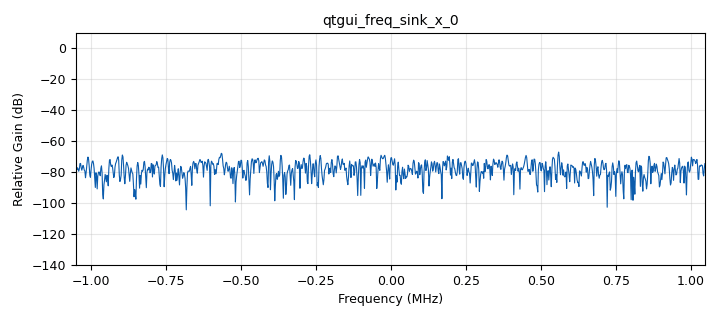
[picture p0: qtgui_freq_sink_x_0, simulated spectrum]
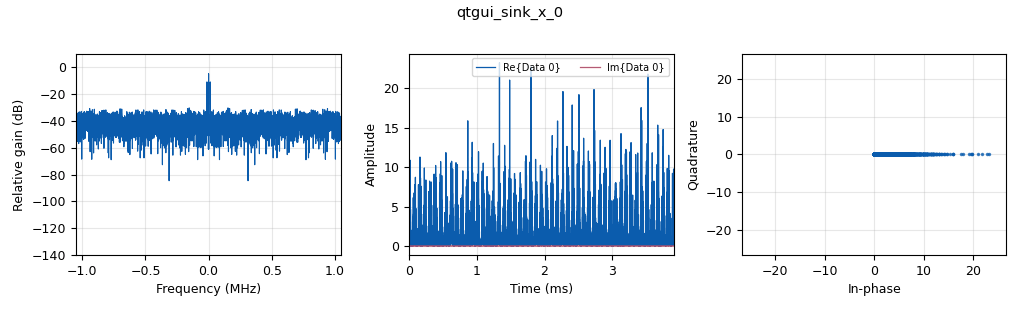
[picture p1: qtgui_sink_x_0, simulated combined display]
<?xml version='1.0' encoding='utf-8'?>
<?grc format='1' created='3.7.13'?>
<flow_graph>
<block>
<key>options</key>
<param><key>id</key><value>BW_Limited_Receiver_Simulation</value></param>
<param><key>author</key><value>Peter F Bradshaw</value></param>
<param><key>description</key><value>A white gausian dist simulator</value></param>
<param><key>generate_options</key><value>qt_gui</value></param>
<param><key>title</key><value>BW Limited Simulation</value></param>
</block>
<block>
<key>variable_qtgui_range</key>
<param><key>id</key><value>delay_var</value></param>
<param><key>value</key><value>50</value></param>
<param><key>orient</key><value>Qt.Horizontal</value></param>
<param><key>start</key><value>0</value></param>
<param><key>step</key><value>1</value></param>
<param><key>stop</key><value>8192</value></param>
<param><key>rangeType</key><value>int</value></param>
</block>
<block>
<key>variable</key>
<param><key>id</key><value>samp_rate</value></param>
<param><key>value</key><value>2097152</value></param>
</block>
<block>
<key>variable_qtgui_chooser</key>
<param><key>id</key><value>vector_length</value></param>
<param><key>value</key><value>8192</value></param>
<param><key>label0</key><value>8192</value></param>
<param><key>label1</key><value>32768</value></param>
<param><key>label2</key><value>131072</value></param>
<param><key>label3</key><value>524288</value></param>
<param><key>label4</key><value>2097152</value></param>
<param><key>label</key><value>Vector Length</value></param>
<param><key>labels</key><value>[1024, 2048, 4096, 8192, 16384, 32768, 65536, 131072, 262144, 524558, 1048576]</value></param>
<param><key>num_opts</key><value>5</value></param>
<param><key>option0</key><value>8192</value></param>
<param><key>option1</key><value>32768</value></param>
<param><key>option2</key><value>131072</value></param>
<param><key>option3</key><value>524288</value></param>
<param><key>option4</key><value>2097152</value></param>
<param><key>options</key><value>[1024, 2048, 4096, 8192, 16384, 32768, 65536, 131072, 262144, 524558, 1048576]</value></param>
<param><key>type</key><value>int</value></param>
<param><key>widget</key><value>radio_buttons</value></param>
</block>
<block>
<key>analog_fastnoise_source_x</key>
<param><key>id</key><value>analog_fastnoise_source_x_0</value></param>
<param><key>amp</key><value>0.01</value></param>
<param><key>noise_type</key><value>analog.GR_GAUSSIAN</value></param>
<param><key>type</key><value>complex</value></param>
<param><key>seed</key><value>0</value></param>
<param><key>samples</key><value>vector_length</value></param>
</block>
<block>
<key>blocks_add_xx</key>
<param><key>id</key><value>blocks_add_xx_0</value></param>
<param><key>type</key><value>complex</value></param>
</block>
<block>
<key>blocks_delay</key>
<param><key>id</key><value>blocks_delay_0</value></param>
<param><key>delay</key><value>delay_var</value></param>
<param><key>type</key><value>complex</value></param>
</block>
<block>
<key>blocks_multiply_conjugate_cc</key>
<param><key>id</key><value>blocks_multiply_conjugate_cc_0</value></param>
<param><key>vlen</key><value>vector_length</value></param>
</block>
<block>
<key>blocks_stream_to_vector</key>
<param><key>id</key><value>blocks_stream_to_vector_0</value></param>
<param><key>type</key><value>complex</value></param>
<param><key>num_items</key><value>vector_length</value></param>
</block>
<block>
<key>blocks_throttle</key>
<param><key>id</key><value>blocks_throttle_0</value></param>
<param><key>samples_per_second</key><value>samp_rate</value></param>
<param><key>type</key><value>complex</value></param>
</block>
<block>
<key>blocks_vector_to_stream</key>
<param><key>id</key><value>correlation_vector_to_stream</value></param>
<param><key>type</key><value>complex</value></param>
<param><key>num_items</key><value>vector_length</value></param>
</block>
<block>
<key>fft_vxx</key>
<param><key>id</key><value>fft</value></param>
<param><key>fft_size</key><value>vector_length</value></param>
<param><key>forward</key><value>False</value></param>
<param><key>type</key><value>complex</value></param>
<param><key>shift</key><value>False</value></param>
<param><key>window</key><value>window.rectangular(vector_length)</value></param>
</block>
<block>
<key>qtgui_freq_sink_x</key>
<param><key>id</key><value>qtgui_freq_sink_x_0</value></param>
<param><key>bw</key><value>samp_rate</value></param>
<param><key>fc</key><value>0</value></param>
<param><key>fftsize</key><value>1024</value></param>
<param><key>showports</key><value>True</value></param>
<param><key>type</key><value>complex</value></param>
<param><key>wintype</key><value>firdes.WIN_BLACKMAN_hARRIS</value></param>
</block>
<block>
<key>qtgui_sink_x</key>
<param><key>id</key><value>qtgui_sink_x_0</value></param>
<param><key>bw</key><value>samp_rate</value></param>
<param><key>fc</key><value>0</value></param>
<param><key>freqchangevar</key><value>None</value></param>
<param><key>fftsize</key><value>vector_length</value></param>
<param><key>showports</key><value>True</value></param>
<param><key>type</key><value>complex</value></param>
<param><key>wintype</key><value>firdes.WIN_BLACKMAN_hARRIS</value></param>
</block>
<connection><source_block_id>analog_fastnoise_source_x_0</source_block_id><sink_block_id>blocks_throttle_0</sink_block_id><source_key>0</source_key><sink_key>0</sink_key></connection>
<connection><source_block_id>blocks_add_xx_0</source_block_id><sink_block_id>blocks_stream_to_vector_0</sink_block_id><source_key>0</source_key><sink_key>0</sink_key></connection>
<connection><source_block_id>blocks_delay_0</source_block_id><sink_block_id>blocks_add_xx_0</sink_block_id><source_key>0</source_key><sink_key>1</sink_key></connection>
<connection><source_block_id>blocks_multiply_conjugate_cc_0</source_block_id><sink_block_id>correlation_vector_to_stream</sink_block_id><source_key>0</source_key><sink_key>0</sink_key></connection>
<connection><source_block_id>blocks_stream_to_vector_0</source_block_id><sink_block_id>fft</sink_block_id><source_key>0</source_key><sink_key>0</sink_key></connection>
<connection><source_block_id>blocks_throttle_0</source_block_id><sink_block_id>blocks_add_xx_0</sink_block_id><source_key>0</source_key><sink_key>0</sink_key></connection>
<connection><source_block_id>blocks_throttle_0</source_block_id><sink_block_id>blocks_delay_0</sink_block_id><source_key>0</source_key><sink_key>0</sink_key></connection>
<connection><source_block_id>blocks_throttle_0</source_block_id><sink_block_id>qtgui_freq_sink_x_0</sink_block_id><source_key>0</source_key><sink_key>0</sink_key></connection>
<connection><source_block_id>correlation_vector_to_stream</source_block_id><sink_block_id>qtgui_sink_x_0</sink_block_id><source_key>0</source_key><sink_key>0</sink_key></connection>
<connection><source_block_id>fft</source_block_id><sink_block_id>blocks_multiply_conjugate_cc_0</sink_block_id><source_key>0</source_key><sink_key>0</sink_key></connection>
<connection><source_block_id>fft</source_block_id><sink_block_id>blocks_multiply_conjugate_cc_0</sink_block_id><source_key>0</source_key><sink_key>1</sink_key></connection>
</flow_graph>
